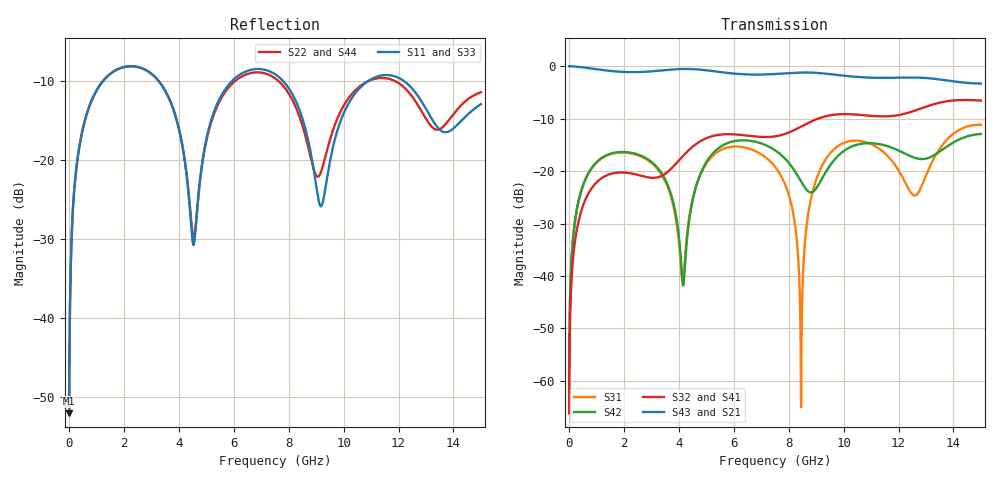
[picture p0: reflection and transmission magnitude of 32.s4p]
! Created with skrf 1.8.0 (http://scikit-rf.org).
# GHz S RI R 50.0
!freq ReS11 ImS11 ReS12 ImS12 ReS13 ImS13
! ReS14 ImS14
! ReS21 ImS21 ReS22 ImS22 ReS23 ImS23
! ReS24 ImS24
! ReS31 ImS31 ReS32 ImS32 ReS33 ImS33
! ReS34 ImS34
! ReS41 ImS41 ReS42 ImS42 ReS43 ImS43
! ReS44 ImS44
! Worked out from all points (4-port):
!   2499 points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, 5 MHz to 15 GHz, reference 50 ohm
!   strongest paths, dB at 5 MHz, 3.476 GHz, 7.19 GHz, 11.1 GHz, 15 GHz:
!     S43: 0.0, -0.8, -1.6, -2.2, -3.3
!     S21: 0.0, -0.8, -1.6, -2.2, -3.3
!     S32: -66.2, -20.6, -13.5, -9.5, -6.6
!     S41: -66.2, -20.6, -13.5, -9.5, -6.6
!     S42: -62.3, -21.4, -15.1, -14.7, -12.9
!     S31: -62.3, -21.7, -17.5, -15.1, -11.2
!   lowest |S11| = -52.1 dB at 5 MHz (marker M1), VSWR 1.00, Z = 50.2 + j0.151 ohm
!   |S11| at or under -10 dB: 3.282 GHz to 5.922 GHz (2.64 GHz wide, 57.4 % of centre); 7.811 GHz to 10.87 GHz (3.059 GHz wide, 32.7 % of centre); 12.22 GHz to end of sweep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
0.005  0.00197 0.0015  0.998 -0.00384  9.96e-05 0.000763  -9.68e-05 -0.000482
       0.998 -0.00384  0.00197 0.0015  -9.68e-05 -0.000482  9.97e-05 0.000763
       9.96e-05 0.000763  -9.68e-05 -0.000482  0.00197 0.0015  0.998 -0.00384
       -9.68e-05 -0.000482  9.97e-05 0.000763  0.998 -0.00384  0.00197 0.0015
1.3193  0.2799 0.1754  0.5316 -0.7391  0.1253 0.059  -0.0894 -0.00362
        0.5316 -0.7391  0.2788 0.1762  -0.0895 -0.00357  0.1284 0.0547
        0.1253 0.059  -0.0895 -0.00357  0.2799 0.1755  0.5316 -0.7391
        -0.0894 -0.00362  0.1284 0.0547  0.5316 -0.7391  0.2788 0.1762
4.595665  0.0306 0.0154  -0.9328 -0.0194  0.00488 0.0668  0.00193 0.1782
          -0.9328 -0.0194  0.0331 0.0136  0.00264 0.1782  0.0153 0.0648
          0.00488 0.0668  0.00264 0.1782  0.03 0.0144  -0.9328 -0.0198
          0.00193 0.1782  0.0153 0.0648  -0.9328 -0.0198  0.0337 0.0127
7.446853  0.3349 -0.1228  0.2182 0.8089  0.0951 -0.0636  0.1876 -0.0992
          0.2182 0.8089  0.3229 -0.0949  0.1873 -0.1014  0.0782 -0.1413
          0.0951 -0.0636  0.1873 -0.1014  0.3324 -0.1207  0.2189 0.8098
          0.1876 -0.0992  0.0782 -0.1413  0.2189 0.8098  0.3201 -0.0961
8.453522  0.1228 -0.1516  0.7059 0.5042  0.00033 0.000456  0.1487 -0.2194
          0.7059 0.5042  0.1335 -0.1148  0.1464 -0.2211  -0.058 -0.0544
          0.00033 0.000456  0.1464 -0.2211  0.1216 -0.1484  0.7071 0.5036
          0.1487 -0.2194  -0.058 -0.0544  0.7071 0.5036  0.1302 -0.1134
9.578991  0.0835 0.0776  0.8198 -0.1545  0.1 0.1179  -0.0867 -0.3306
          0.8198 -0.1545  0.119 0.0895  -0.09 -0.3299  0.0517 0.1083
          0.1 0.1179  -0.09 -0.3299  0.084 0.0793  0.8194 -0.1555
          -0.0867 -0.3306  0.0517 0.1083  0.8194 -0.1555  0.119 0.0921
15  0.2256 0.0251  -0.5605 0.3904  0.2541 0.1078  0.3269 0.3326
    -0.5605 0.3904  0.2685 0.0286  0.3339 0.33  0.1983 0.1071
    0.2541 0.1078  0.3339 0.33  0.2223 0.0324  -0.5578 0.3915
    0.3269 0.3326  0.1983 0.1071  -0.5578 0.3915  0.2789 0.03
